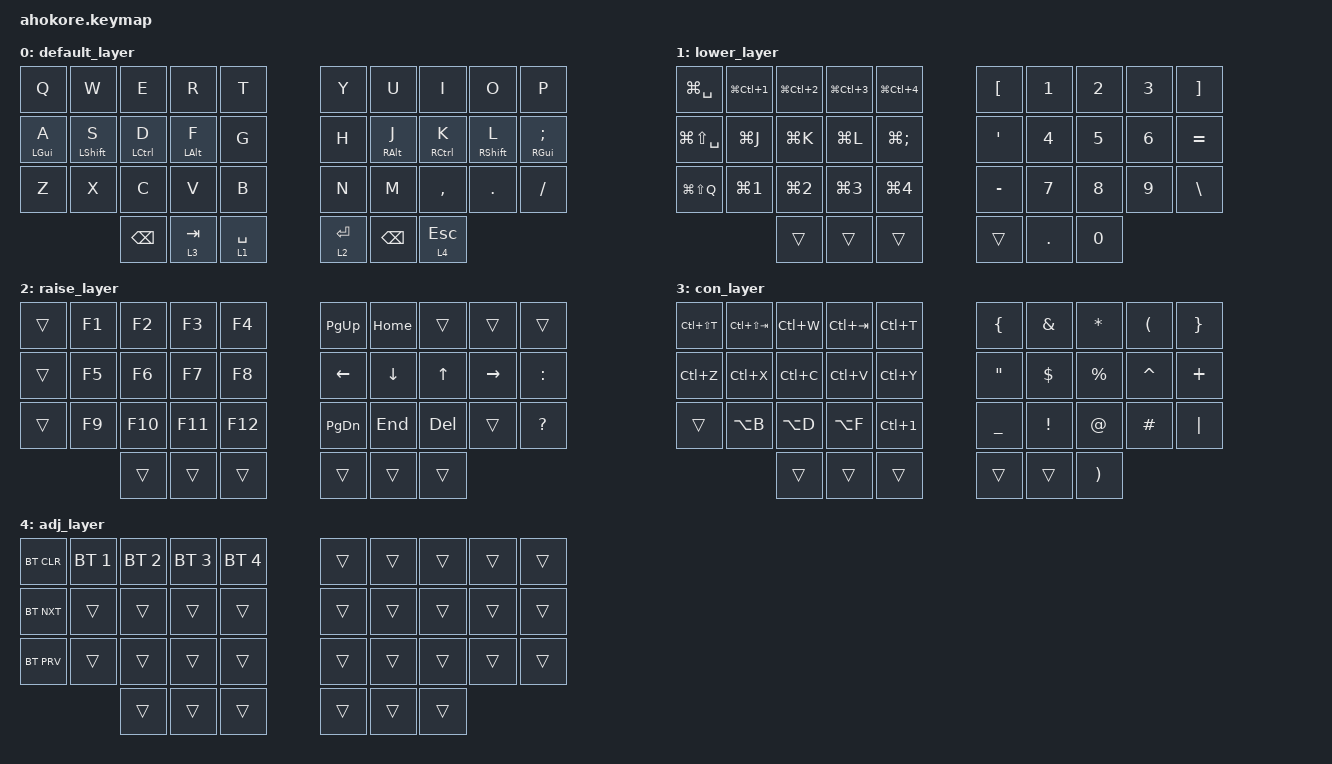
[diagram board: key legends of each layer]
/*
 * Copyright (c) 2020 The ZMK Contributors
 *
 * SPDX-License-Identifier: MIT
 */

#include <behaviors.dtsi>
#include <dt-bindings/zmk/keys.h>
#include <dt-bindings/zmk/bt.h>

&mt { tapping-term-ms = <150>; };
&lt { quick_tap_ms = <200>; };

/ {
    keymap {
      compatible = "zmk,keymap";
      default_layer {
        bindings = <
    &kp Q       &kp W        &kp E        &kp R       &kp T                &kp Y      &kp U       &kp I          &kp O         &kp P
    &mt LGUI A  &mt LSHFT S  &mt LCTRL D  &mt LALT F  &kp G                &kp H      &mt RALT J  &mt RCTRL K    &mt RSHFT L   &mt RGUI SEMI
    &kp Z       &kp X        &kp C        &kp V       &kp B                &kp N      &kp M       &kp COMMA      &kp DOT       &kp FSLH
                             &kp BSPC   &lt 3 TAB  &lt 1 SPC               &lt 2 RET         &kp BSPC       &lt 4 ESC
        >;
      };
      lower_layer {
        bindings = <
    &kp LG(SPC)     &kp LG(LC(1))   &kp LG(LC(2))  &kp LG(LC(3)) &kp LG(LC(4))     &kp LBKT  &kp 1   &kp 2 &kp 3 &kp RBKT
    &kp LG(LS(SPC)) &kp LG(J)       &kp LG(K)      &kp LG(L)     &kp LG(SEMI)      &kp SQT   &kp 4	 &kp 5 &kp 6 &kp EQUAL
    &kp LG(LS(Q))   &kp LG(1)       &kp LG(2)      &kp LG(3)     &kp LG(4)         &kp MINUS &kp 7   &kp 8 &kp 9 &kp BSLH
                                    &trans         &trans        &trans            &trans    &kp DOT &kp 0
        >;
      };
      raise_layer {
        bindings = <
    &trans   &kp F1		&kp F2   &kp F3 	&kp F4     &kp PG_UP   &kp HOME 	&trans   &trans 		&trans
    &trans   &kp F5		&kp F6   &kp F7 	&kp	F8     &kp LEFT    &kp DOWN 	&kp UP   &kp RIGHT 	&kp COLON
    &trans   &kp F9		&kp F10  &kp F11 	&kp F12    &kp PG_DN   &kp END 	  &kp DEL  &trans 	  &kp QMARK
                      &trans   &trans   &trans     &trans      &trans     &trans
        >;
      };
      con_layer {
          bindings = <
    &kp LC(LS(T)) &kp LC(LS(TAB)) &kp LC(W) &kp LC(TAB) &kp LC(T)    &kp LBRC  &kp AMPS  &kp ASTRK  &kp LPAR  &kp RBRC
    &kp LC(Z)     &kp LC(X)       &kp LC(C) &kp LC(V)   &kp LC(Y)    &kp DQT   &kp DLLR  &kp PRCNT  &kp CARET &kp PLUS
    &trans        &kp LA(B)       &kp LA(D) &kp LA(F)   &kp LC(1)    &kp UNDER &kp EXCL  &kp AT     &kp HASH  &kp PIPE
                                  &trans    &trans      &trans       &trans    &trans    &kp RPAR
          >;
        };
      adj_layer {
          bindings = <
    &bt BT_CLR &bt BT_SEL 1 &bt BT_SEL 2    &bt BT_SEL 3    &bt BT_SEL 4    &trans    &trans    &trans    &trans    &trans
    &bt BT_NXT &trans       &trans    &trans    &trans    &trans    &trans    &trans    &trans    &trans
    &bt BT_PRV &trans       &trans    &trans    &trans    &trans    &trans    &trans    &trans    &trans
                            &trans    &trans    &trans    &trans    &trans    &trans
          >;
        };
    };
};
